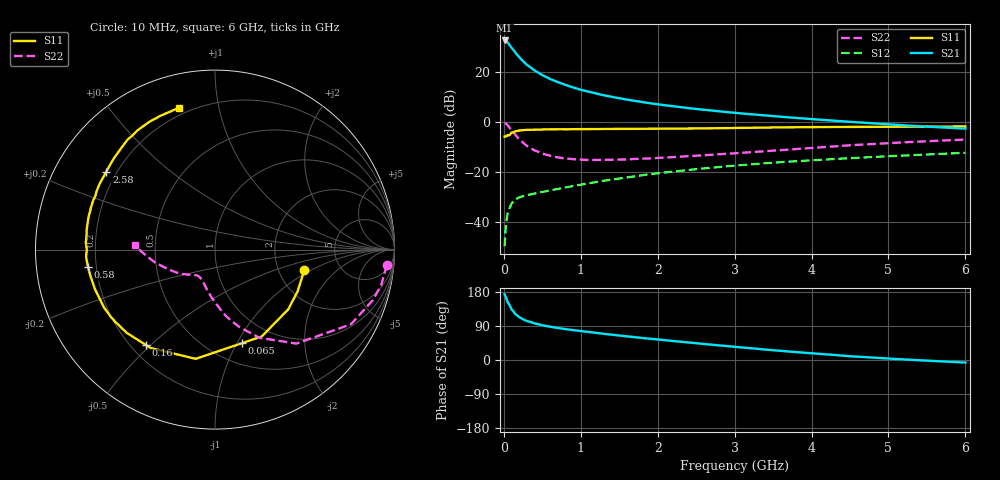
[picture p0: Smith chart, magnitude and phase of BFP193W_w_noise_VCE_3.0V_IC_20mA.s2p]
! Infineon Technologies  Discrete & RF Semiconductors
! BFP193W
! VCE = 3.0 V,  IC =  20 mA
! Common Emitter S-Parameters:  Jan 2016
# GHz  S  MA  R  50
!  f  S11  S21  S12  S22
! GHz  MAG  ANG  MAG  ANG  MAG  ANG  MAG  ANG
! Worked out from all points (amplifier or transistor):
!   210 points, 10 MHz to 6 GHz, reference 50 ohm
!   highest |S21| = 32.6 dB at 10 MHz (marker M1)
!   |S21| within 3 dB of that: start of sweep to 104.6 MHz
!   unconditionally stable (mu >= 1): 951.5 MHz to 3.997 GHz
!   at 185 MHz: K = 0.34, MSG = 28.4 dB, |S12| = -30.4 dB
!   at 1.52 GHz: K = 1.11, MAG = 13.9 dB, |S12| = -22.4 dB
!   at 6 GHz: K = 0.93, MSG = 4.8 dB, |S12| = -12.3 dB
!   lowest NFmin = 1.40 dB at 450 MHz
!   S11 on the Smith chart (normalised r, x): 10 MHz: 2.78, -0.87; 65 MHz: 0.71, -1.05; 160 MHz: 0.26, -0.48; 580 MHz: 0.17, -0.07; 2.58 GHz: 0.16, +0.31; 6 GHz: 0.16, +0.77
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0.01  0.5105 -13.1  42.67 173.3  0.0033 85.7  0.9608 -5.2
0.02  0.5155 -26.8  42.28 168.4  0.0064 79.2  0.9467 -12.2
0.03  0.5266 -39.2  41.47 163.1  0.0094 76.7  0.9223 -17.9
0.05  0.5495 -61.7  38.73 152.8  0.015 66.8  0.864 -28.8
0.065  0.5424 -73.9  35.99 148.0  0.0174 60.9  0.8026 -34.0
0.1  0.6179 -100.0  30.86 133.7  0.0235 52.2  0.6919 -49.2
0.15  0.6547 -123.0  24.34 121.0  0.0282 44.3  0.551 -63.2
0.16  0.6559 -125.8  23.36 119.6  0.0288 43.5  0.5301 -64.8
0.2  0.6759 -136.6  19.61 112.9  0.0312 40.7  0.4516 -72.6
0.26  0.6909 -147.1  15.86 106.4  0.0332 38.9  0.3739 -80.7
0.3  0.6975 -152.5  13.88 102.8  0.0344 38.5  0.3322 -85.2
0.4  0.7041 -161.8  10.68 96.4  0.0372 38.7  0.2708 -93.5
0.58  0.7134 -172.1  7.535 88.6  0.0424 42.3  0.2155 -103.9
0.8  0.7143 179.9  5.496 81.4  0.0492 46.5  0.1864 -112.2
1.02  0.7201 173.9  4.335 75.7  0.0567 49.6  0.1766 -118.4
1.4  0.7278 165.5  3.188 66.7  0.0707 52.7  0.1761 -125.1
2.02  0.7355 153.8  2.239 53.5  0.0952 53.7  0.1924 -132.7
2.58  0.7455 144.3  1.768 42.6  0.1174 52.3  0.2152 -140.6
3.1  0.7624 136.0  1.479 33.1  0.1382 49.8  0.2429 -147.8
4.1  0.7932 122.0  1.115 16.2  0.1757 43.9  0.3102 -162.8
5.1  0.8054 111.4  0.877 2.6  0.2105 37.6  0.3858 -175.2
6  0.8149 104.2  0.739 -6.8  0.2426 32.5  0.4467 176.9
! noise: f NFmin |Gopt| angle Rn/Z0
0.45  1.4  0.3  160  0.1
0.9  1.45  0.34  172  0.11
1.8  2.2  0.56  -148  0.2
